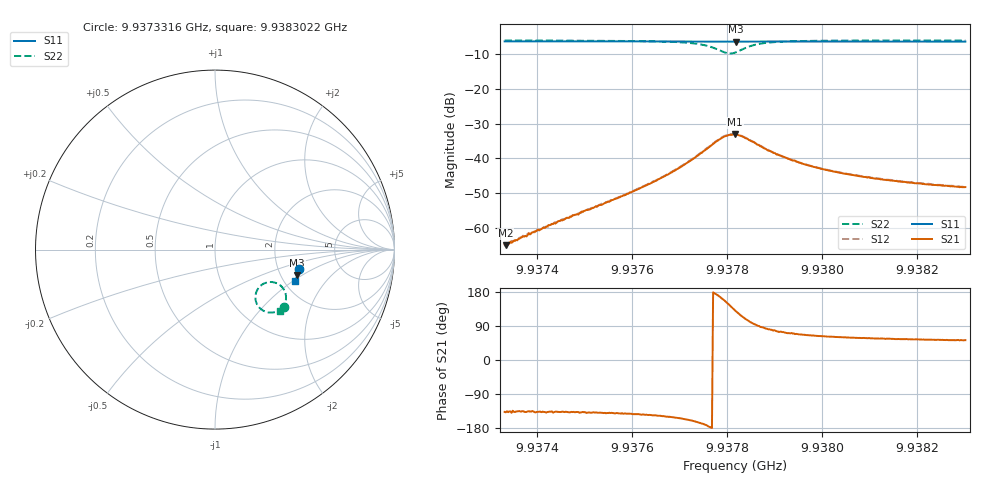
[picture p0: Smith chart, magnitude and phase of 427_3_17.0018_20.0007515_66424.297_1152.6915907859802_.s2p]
#  HZ  S  RI  R  50.00
! Rohde & Schwarz Vector Network Analyzer
! Rohde-Schwarz,ZNB20-2Port,1311601062101988,3.16
! Created: UTC 3/20/2024, 11:11:12 PM
! freq[Hz]  re:S11  im:S11  re:S21  im:S21  re:S12  im:S12  re:S22  im:S22
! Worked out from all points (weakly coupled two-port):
!   401 points, 9.9373316 GHz to 9.9383022 GHz, reference 50 ohm
!   highest |S21| = -33.08 dB at 9.9378169 GHz (marker M1); lowest = -65.0 dB at 9.937334 GHz (marker M2)
!   lowest |S11| = -6.4 dB at 9.9378193 GHz (marker M3), VSWR 2.84, Z = 123 - j44.8 ohm
!   |S11| at or under -10 dB: nowhere
!   |S22| runs from -9.8 to -6.1 dB; largest |S21 - S12| = 0.00087
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9.93733156e9  0.4707 -0.1103  -0.000423 -0.000393  -0.00041 -0.000386  0.382 -0.3191
9.93733399e9  0.4705 -0.1107  -0.000417 -0.000375  -0.000407 -0.000367  0.3818 -0.3191
9.93737767e9  0.4697 -0.1136  -0.000553 -0.000514  -0.000582 -0.000549  0.3784 -0.3222
9.93742862e9  0.4686 -0.1172  -0.000806 -0.000763  -0.000839 -0.000741  0.3738 -0.3262
9.93749414e9  0.467 -0.1215  -0.00128 -0.00116  -0.00127 -0.00109  0.3669 -0.3316
9.93758877e9  0.465 -0.1278  -0.00243 -0.0019  -0.00248 -0.00188  0.3521 -0.3407
9.93765672e9  0.4633 -0.1325  -0.00424 -0.00273  -0.00433 -0.0027  0.3332 -0.3481
9.93770525e9  0.4619 -0.1357  -0.007 -0.00331  -0.00717 -0.00328  0.3082 -0.3511
9.93775378e9  0.4599 -0.1389  -0.013 -0.00213  -0.0133 -0.00187  0.2601 -0.3347
9.93777319e9  0.459 -0.1398  -0.0166 0.000998  -0.0168 0.00135  0.2353 -0.3067
9.9377926e9  0.458 -0.1403  -0.019 0.00725  -0.0191 0.00792  0.2257 -0.2539
9.93780473e9  0.4577 -0.1406  -0.018 0.0124  -0.0179 0.013  0.2412 -0.2157
9.93781686e9  0.4577 -0.1408  -0.0145 0.0168  -0.0143 0.0173  0.2741 -0.1884
9.93781929e9  0.4577 -0.1407  -0.0137 0.0173  -0.0133 0.0179  0.2821 -0.1854
9.93784598e9  0.4583 -0.1422  -0.00414 0.018  -0.00369 0.0185  0.3565 -0.194
9.9378751e9  0.4584 -0.1444  0.00093 0.0144  0.00143 0.0144  0.3888 -0.2322
9.93791878e9  0.4575 -0.1477  0.00293 0.0101  0.00327 0.0101  0.3959 -0.2712
9.93797944e9  0.4561 -0.1519  0.00326 0.00692  0.00347 0.00696  0.3903 -0.2982
9.93805709e9  0.4541 -0.1571  0.003 0.00505  0.00316 0.00509  0.3814 -0.316
9.93814202e9  0.452 -0.1627  0.00268 0.00404  0.00282 0.00402  0.3733 -0.3278
9.93822209e9  0.4496 -0.1679  0.0025 0.00342  0.00261 0.00343  0.3667 -0.3355
9.93830216e9  0.4473 -0.1728  0.00236 0.00307  0.00248 0.00303  0.3609 -0.3418
